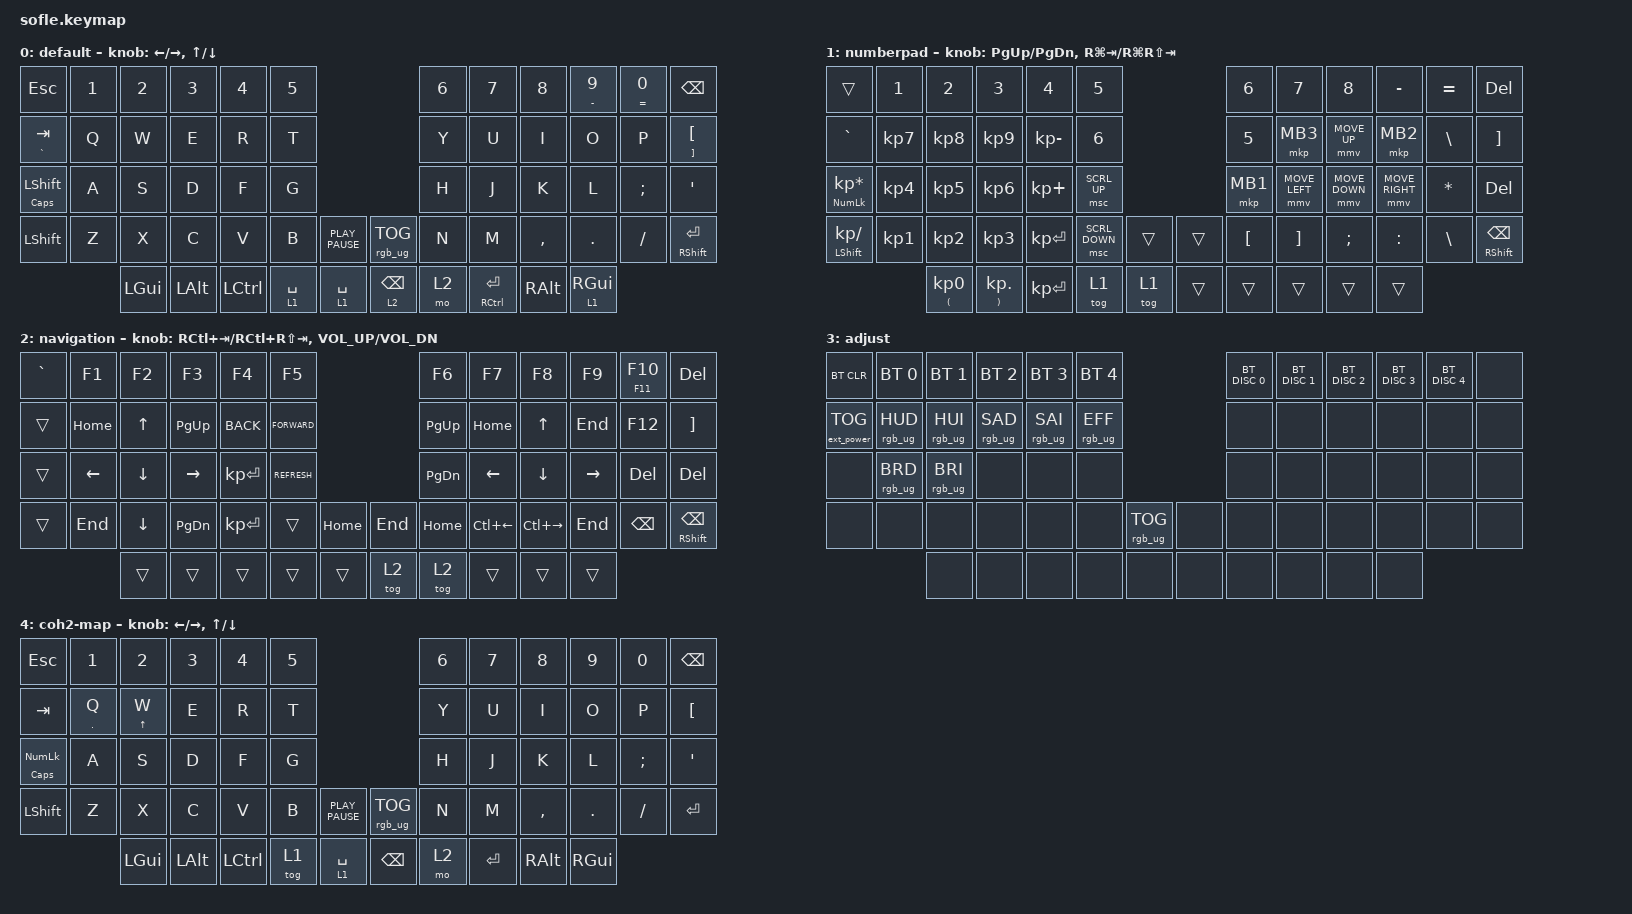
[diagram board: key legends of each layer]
/*
 * Copyright (c) 2020 The ZMK Contributors
 *
 * SPDX-License-Identifier: MIT
 */

#define ZMK_POINTING_DEFAULT_MOVE_VAL 1500  // default: 600
#define ZMK_POINTING_DEFAULT_SCRL_VAL 20    // default: 10

#include <behaviors.dtsi>
#include <dt-bindings/zmk/bt.h>
#include <dt-bindings/zmk/ext_power.h>
#include <dt-bindings/zmk/keys.h>
#include <dt-bindings/zmk/pointing.h>
#include <dt-bindings/zmk/rgb.h>

#define BASE 0
#define LOWER 1
#define RAISE 2
#define ADJUST 3

/ {
    // Activate ADJUST layer by pressing raise and lower

    conditional_layers {
        compatible = "zmk,conditional-layers";

        adjust_layer {
            if-layers = <1 2>;
            then-layer = <3>;
        };
    };

    /*
    mouse_encoder: mouse_encoder {
        compatible = "zmk,behavior-sensor-rotate-var";
        #sensor-binding-cells = <2>;
        bindings = <&mmv>, <&mmv>;

        tap-ms = <72>;
    };

    scroll_encoder: scroll_encoder {
        compatible = "zmk,behavior-sensor-rotate-var";
        #sensor-binding-cells = <2>;
        bindings = <&msc>, <&msc>;

        tap-ms = <72>;
    };

    behaviors {
    };
*/

    keymap {
        compatible = "zmk,keymap";

        default_layer {
            label = "default";
            bindings = <
&kp ESCAPE       &kp N1  &kp N2    &kp N3    &kp N4     &kp N5                                            &kp N6  &kp N7           &kp N8     &mt MINUS N9  &mt EQUAL N0  &kp BACKSPACE
&mt GRAVE TAB    &kp Q   &kp W     &kp E     &kp R      &kp T                                             &kp Y   &kp U            &kp I      &kp O         &kp P         &mt RIGHT_BRACKET LEFT_BRACKET
&mt CLCK LSHIFT  &kp A   &kp S     &kp D     &kp F      &kp G                                             &kp H   &kp J            &kp K      &kp L         &kp SEMI      &kp SQT
&kp LSHFT        &kp Z   &kp X     &kp C     &kp V      &kp B        &kp K_PLAY_PAUSE    &rgb_ug RGB_TOG  &kp N   &kp M            &kp COMMA  &kp DOT       &kp SLASH     &mt RIGHT_SHIFT ENTER
                         &kp LGUI  &kp LALT  &kp LCTRL  &lt 1 SPACE  &lt 1 SPACE         &lt 2 BACKSPACE  &mo 2   &mt RCTRL ENTER  &kp RALT   &lt 1 RGUI
            >;

            sensor-bindings = <&inc_dec_kp LEFT RIGHT>, <&inc_dec_kp UP DOWN>;

            //sensor-bindings = <&mouse_encoder MOVE_X(-100) MOVE_X(100)>, <&mouse_encoder MOVE_Y(-100) MOVE_Y(100)>;
        };

        numberpad {
            label = "numberpad";
            bindings = <
&trans                      &kp NUMBER_1  &kp NUMBER_2                &kp NUMBER_3                  &kp NUMBER_4     &kp N5                            &kp NUMBER_6  &kp N7          &kp N8          &kp MINUS        &kp EQUAL      &kp DEL
&kp GRAVE                   &kp KP_N7     &kp KP_N8                   &kp KP_NUMBER_9               &kp KP_SUBTRACT  &kp NUMBER_6                      &kp N5        &mkp MB3        &mmv MOVE_UP    &mkp MB2         &kp BACKSLASH  &kp RIGHT_BRACKET
&mt KP_NUMLOCK KP_ASTERISK  &kp KP_N4     &kp KP_NUMBER_5             &kp KP_N6                     &kp KP_PLUS      &msc SCRL_UP                      &mkp MB1      &mmv MOVE_LEFT  &mmv MOVE_DOWN  &mmv MOVE_RIGHT  &kp ASTERISK   &kp DEL
&mt LEFT_SHIFT KP_DIVIDE    &kp KP_N1     &kp KP_N2                   &kp KP_N3                     &kp KP_ENTER     &msc SCRL_DOWN  &trans    &trans  &kp LBKT      &kp RBKT        &kp SEMI        &kp COLON        &kp BACKSLASH  &mt RIGHT_SHIFT BACKSPACE
                                          &mt LEFT_PARENTHESIS KP_N0  &mt RIGHT_PARENTHESIS KP_DOT  &kp KP_ENTER     &tog 1          &tog 1    &trans  &trans        &trans          &trans          &trans
            >;

            sensor-bindings =
                <&inc_dec_kp PG_UP PG_DN>,
                <&inc_dec_kp RG(TAB) RG(RS(TAB))>;
        };

        navigation {
            label = "navigation";
            bindings = <
&kp GRAVE  &kp F1    &kp F2        &kp F3     &kp F4        &kp F5                              &kp F6     &kp F7              &kp F8         &kp F9     &mt F11 F10    &kp DEL
&trans     &kp HOME  &kp UP_ARROW  &kp PG_UP  &kp K_BACK    &kp K_FORWARD                       &kp PG_UP  &kp HOME            &kp UP         &kp END    &kp F12        &kp RIGHT_BRACKET
&trans     &kp LEFT  &kp DOWN      &kp RIGHT  &kp KP_ENTER  &kp K_REFRESH                       &kp PG_DN  &kp LEFT            &kp DOWN       &kp RIGHT  &kp DEL        &kp DEL
&trans     &kp END   &kp DOWN      &kp PG_DN  &kp KP_ENTER  &trans         &kp HOME    &kp END  &kp HOME   &kp LC(LEFT_ARROW)  &kp LC(RIGHT)  &kp END    &kp BACKSPACE  &mt RIGHT_SHIFT BACKSPACE
                     &trans        &trans     &trans        &trans         &trans      &tog 2   &tog 2     &trans              &trans         &trans
            >;

            sensor-bindings =
                <&inc_dec_kp RC(TAB) RC(RS(TAB))>,
                <&inc_dec_kp C_VOL_UP C_VOL_DN>;

            //sensor-bindings = <&scroll_encoder MOVE_Y(-3) MOVE_Y(3)>, <&scroll_encoder MOVE_Y(-30) MOVE_Y(30)>;
        };

        adjust_layer {
            label = "adjust";
            bindings = <
&bt BT_CLR         &bt BT_SEL 0     &bt BT_SEL 1     &bt BT_SEL 2     &bt BT_SEL 3     &bt BT_SEL 4                               &bt BT_DISC 0  &bt BT_DISC 1  &bt BT_DISC 2  &bt BT_DISC 3  &bt BT_DISC 4  &none
&ext_power EP_TOG  &rgb_ug RGB_HUD  &rgb_ug RGB_HUI  &rgb_ug RGB_SAD  &rgb_ug RGB_SAI  &rgb_ug RGB_EFF                            &none          &none          &none          &none          &none          &none
&none              &rgb_ug RGB_BRD  &rgb_ug RGB_BRI  &none            &none            &none                                      &none          &none          &none          &none          &none          &none
&none              &none            &none            &none            &none            &none            &rgb_ug RGB_TOG    &none  &none          &none          &none          &none          &none          &none
                                    &none            &none            &none            &none            &none              &none  &none          &none          &none          &none
            >;
        };

        coh2-map {
            label = "coh2-map";
            bindings = <
&kp ESCAPE           &kp N1        &kp N2    &kp N3    &kp N4     &kp N5                                       &kp N6  &kp N7     &kp N8     &kp N9    &kp N0    &kp BACKSPACE
&kp TAB              &mt PERIOD Q  &mt UP W  &kp E     &kp R      &kp T                                        &kp Y   &kp U      &kp I      &kp O     &kp P     &kp LEFT_BRACKET
&mt CLCK KP_NUMLOCK  &kp A         &kp S     &kp D     &kp F      &kp G                                        &kp H   &kp J      &kp K      &kp L     &kp SEMI  &kp SQT
&kp LSHFT            &kp Z         &kp X     &kp C     &kp V      &kp B   &kp K_PLAY_PAUSE    &rgb_ug RGB_TOG  &kp N   &kp M      &kp COMMA  &kp DOT   &kp FSLH  &kp ENTER
                                   &kp LGUI  &kp LALT  &kp LCTRL  &tog 1  &lt 1 SPACE         &kp BACKSPACE    &mo 2   &kp ENTER  &kp RALT   &kp RGUI
            >;

            sensor-bindings = <&inc_dec_kp LEFT RIGHT>, <&inc_dec_kp UP DOWN>;
        };
    };
};
